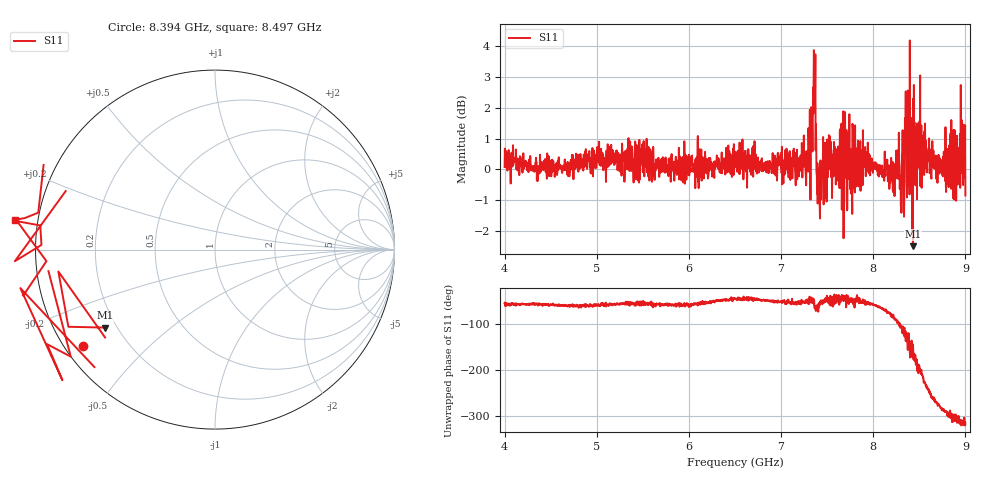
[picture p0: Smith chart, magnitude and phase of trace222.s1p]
! Created with skrf 1.8.0 (http://scikit-rf.org).
# Hz S RI R 50.0
!freq ReS11 ImS11
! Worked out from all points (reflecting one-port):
!   1601 points, 4 GHz to 9 GHz, reference 50 ohm
!   lowest |S11| = -2.5 dB at 8.431 GHz (marker M1), VSWR 6.99, Z = 7.86 - j15.6 ohm
!   phase of S11 starts at -55 deg and turns -260 deg over the sweep
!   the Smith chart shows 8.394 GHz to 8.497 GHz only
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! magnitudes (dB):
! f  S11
! 4 GHz  0.1
! 4.625 GHz  -0.1
! 5.25 GHz  -0.1
! 5.875 GHz  0.1
! 6.5 GHz  0.2
! 7.125 GHz  0.2
! 7.294 GHz  -0.1
! 7.316 GHz  0.5
! 7.35 GHz  1.8
! 7.369 GHz  2.6
! 7.409 GHz  -0.1
! 7.525 GHz  1.0
! 7.609 GHz  0.2
! 7.65 GHz  1.5
! 7.75 GHz  -0.6
! 8.259 GHz  0.3
! 8.312 GHz  0.5
! 8.375 GHz  2.6
! 8.394 GHz  -0.8
! 8.406 GHz  0.6
! 8.431 GHz  -2.5
! 8.503 GHz  1.6
! 8.706 GHz  0.5
! 8.806 GHz  0.5
! 8.831 GHz  0.2
! 8.891 GHz  -0.1
! 8.972 GHz  0.7
! 9 GHz  -0.9
